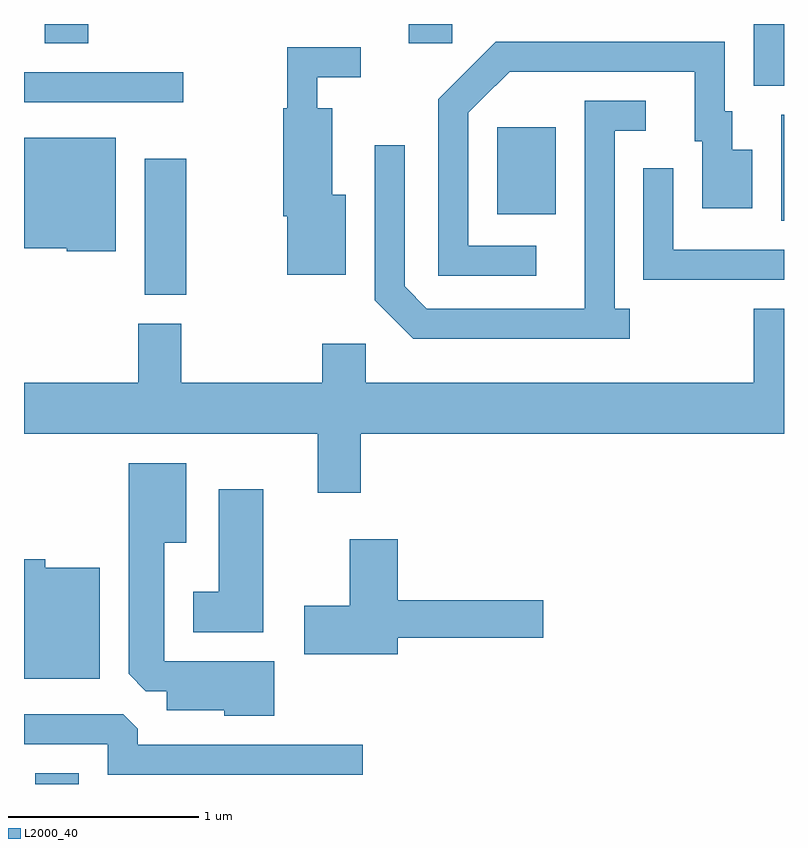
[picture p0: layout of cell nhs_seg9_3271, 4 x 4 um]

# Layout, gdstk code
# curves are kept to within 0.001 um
import gdstk
lib = gdstk.Library(unit=1e-6, precision=1e-09)
def R(c, l, rs):  # rectangles x0, y0, x1, y1
    for r in rs: c.add(gdstk.rectangle(r[:2], r[2:], *l))
def P(c, l, *ps):  # polygons
    for p in ps: c.add(gdstk.Polygon(p, *l))
L2000_40 = (2000, 40)

nhs_seg9_3271 = lib.new_cell('nhs_seg9_3271')
R(nhs_seg9_3271, L2000_40, [(281.671,1974.432,281.899,1974.489), (282.246,1977.006,282.464,1977.724), (285.596,1977.396,285.611,1977.954), (284.101,1977.431,284.409,1977.889), (281.611,1978.021,282.448,1978.179), (285.451,1978.106,285.611,1978.432), (281.721,1978.331,281.949,1978.432), (283.636,1978.331,283.864,1978.432)])
P(nhs_seg9_3271, L2000_40, [(284.308,1977.264),(283.949,1977.264),(283.949,1977.964),(284.167,1978.181),(285.141,1978.181),(285.141,1977.816),(285.181,1977.816),(285.181,1977.461),(285.444,1977.461),(285.444,1977.769),(285.339,1977.769),(285.339,1977.974),(285.299,1977.974),(285.299,1978.339),(284.094,1978.339),(283.791,1978.037),(283.791,1977.106),(284.308,1977.106)],
  [(283.304,1977.534),(283.234,1977.534),(283.234,1977.989),(283.154,1977.989),(283.154,1978.151),(283.383,1978.151),(283.383,1978.309),(282.996,1978.309),(282.996,1977.989),(282.976,1977.989),(282.976,1977.421),(282.996,1977.421),(282.996,1977.111),(283.304,1977.111)],
  [(284.798,1976.934),(284.719,1976.934),(284.719,1977.871),(284.883,1977.871),(284.883,1978.029),(284.561,1978.029),(284.561,1976.934),(283.732,1976.934),(283.614,1977.052),(283.614,1977.793),(283.456,1977.793),(283.456,1976.979),(283.659,1976.776),(284.798,1976.776)],
  [(282.094,1977.834),(281.611,1977.834),(281.611,1977.251),(281.835,1977.251),(281.835,1977.236),(282.094,1977.236)],
  [(285.611,1977.244),(285.029,1977.244),(285.029,1977.673),(284.871,1977.673),(284.871,1977.086),(285.611,1977.086)],
  [(283.384,1976.276),(285.611,1976.276),(285.611,1976.934),(285.451,1976.934),(285.451,1976.544),(283.409,1976.544),(283.409,1976.749),(283.181,1976.749),(283.181,1976.544),(282.439,1976.544),(282.439,1976.854),(282.211,1976.854),(282.211,1976.544),(281.611,1976.544),(281.611,1976.276),(283.156,1976.276),(283.156,1975.966),(283.384,1975.966)],
  [(282.929,1975.079),(282.349,1975.079),(282.349,1975.701),(282.464,1975.701),(282.464,1976.119),(282.161,1976.119),(282.161,1975.012),(282.252,1974.921),(282.361,1974.921),(282.361,1974.821),(282.666,1974.821),(282.666,1974.791),(282.929,1974.791)],
  [(282.869,1975.984),(282.636,1975.984),(282.636,1975.444),(282.501,1975.444),(282.501,1975.231),(282.869,1975.231)],
  [(283.579,1975.201),(284.344,1975.201),(284.344,1975.399),(283.579,1975.399),(283.579,1975.719),(283.326,1975.719),(283.326,1975.369),(283.086,1975.369),(283.086,1975.116),(283.579,1975.116)],
  [(282.009,1975.569),(281.724,1975.569),(281.724,1975.614),(281.611,1975.614),(281.611,1974.986),(282.009,1974.986)],
  [(283.393,1974.639),(282.209,1974.639),(282.209,1974.724),(282.134,1974.799),(281.611,1974.799),(281.611,1974.641),(282.051,1974.641),(282.051,1974.481),(283.393,1974.481)])

lib.write_gds('nhs_seg9_3271.gds')
